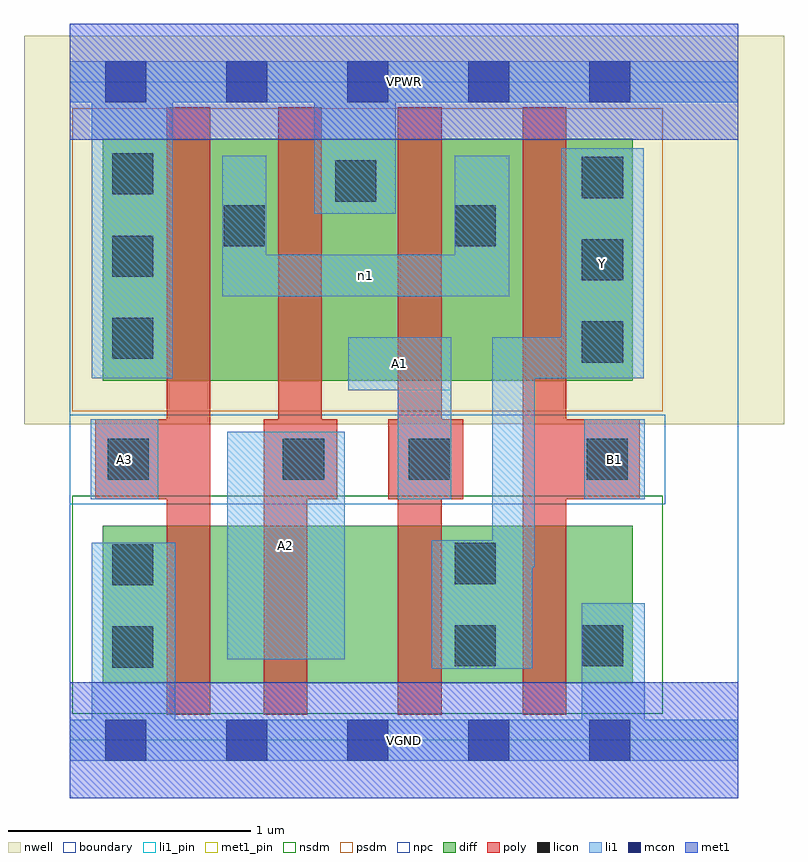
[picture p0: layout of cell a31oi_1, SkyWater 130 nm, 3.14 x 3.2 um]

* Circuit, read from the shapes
.subckt a31oi_1 A1 A2 A3 B1 VGND VPWR Y n1
XM1 n2 A3 VGND VSUBS sky130_fd_pr__nfet_01v8 w=0.65 l=0.18
XM2 n3 A2 n2 VSUBS sky130_fd_pr__nfet_01v8 w=0.65 l=0.18
XM3 Y A1 n3 VSUBS sky130_fd_pr__nfet_01v8 w=0.65 l=0.18
XM4 VGND B1 Y VSUBS sky130_fd_pr__nfet_01v8 w=0.65 l=0.18
XM5 n1 A3 VPWR n4 sky130_fd_pr__pfet_01v8 w=1 l=0.18
XM6 VPWR A2 n1 n4 sky130_fd_pr__pfet_01v8 w=1 l=0.18
XM7 n1 A1 VPWR n4 sky130_fd_pr__pfet_01v8 w=1 l=0.18
XM8 Y B1 n1 n4 sky130_fd_pr__pfet_01v8 w=1 l=0.18
.ends

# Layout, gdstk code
import gdstk
lib = gdstk.Library(unit=1e-6, precision=1e-09)
def R(c, l, rs):  # rectangles x0, y0, x1, y1
    for r in rs: c.add(gdstk.rectangle(r[:2], r[2:], *l))
def A(c, l, x, y, w, h, nx, ny, dx, dy):  # array of equal rectangles
    R(c, l, [(x+i*dx, y+j*dy, x+i*dx+w, y+j*dy+h) for i in range(nx) for j in range(ny)])
nwell = (64, 20)
diff = (65, 20)
poly = (66, 20)
licon = (66, 44)
li1_pin = (67, 16)
li1 = (67, 20)
mcon = (67, 44)
met1_pin = (68, 16)
met1 = (68, 20)
nsdm = (93, 44)
psdm = (94, 20)
npc = (95, 20)
boundary = (235, 4)

a31oi_1 = lib.new_cell('a31oi_1')
R(a31oi_1, nwell, [(-0.19,1.305,2.95,2.91), (0,1.305,2.76,2.91)])
R(a31oi_1, diff, [(0.135,0.235,2.325,0.885), (0.135,1.485,2.325,2.485)])
R(a31oi_1, poly, [(0.4,0.105,0.58,2.615), (0.8,0.105,0.98,1.325), (1.355,0.105,1.535,2.615), (1.87,0.105,2.05,2.615), (0.105,0.995,0.58,1.325), (0.8,0.995,1.105,1.325), (0.86,0.995,1.04,2.615), (1.315,0.995,1.625,1.325), (1.87,0.995,2.355,1.325)])
A(a31oi_1, licon, 2.115, 1.56, 0.17, 0.17, 1, 3, 0, 0.34)
A(a31oi_1, licon, 0.175, 1.575, 0.17, 0.17, 1, 3, 0, 0.34)
R(a31oi_1, licon, [(0.175,0.3,0.345,0.47), (1.59,0.305,1.76,0.475), (2.115,0.305,2.285,0.475), (0.175,0.64,0.345,0.81), (1.59,0.645,1.76,0.815), (0.155,1.075,0.325,1.245), (0.88,1.075,1.05,1.245), (1.4,1.075,1.57,1.245), (2.135,1.075,2.305,1.245), (0.635,2.04,0.805,2.21), (1.59,2.04,1.76,2.21), (1.095,2.225,1.265,2.395)])
R(a31oi_1, li1_pin, [(0.65,0.335,1.135,1.275), (0.085,0.995,0.365,1.325), (2.125,0.995,2.375,1.325), (1.15,1.445,1.575,1.665), (2.03,1.495,2.37,2.445)])
R(a31oi_1, li1, [(0,-0.085,2.76,0.085), (0.09,-0.085,0.435,0.815), (2.115,-0.085,2.375,0.565), (1.495,0.295,1.91,0.825), (0.65,0.335,1.135,1.275), (1.745,0.715,1.92,1.665), (0.085,0.995,0.365,1.325), (1.355,0.995,1.575,1.665), (2.125,0.995,2.375,1.325), (1.15,1.445,1.575,1.665), (0.09,1.495,0.425,2.805), (1.745,1.495,2.37,1.665), (2.03,1.495,2.37,2.445), (0.63,1.835,1.815,2.005), (0.63,1.835,0.81,2.415), (1.59,1.835,1.815,2.415), (1.01,2.175,1.345,2.805), (0,2.635,2.76,2.805)])
A(a31oi_1, mcon, 0.145, -0.085, 0.17, 0.17, 5, 2, 0.5, 2.72)
R(a31oi_1, met1_pin, [(0,-0.24,2.76,0.24), (0,2.48,2.76,2.96)])
R(a31oi_1, met1, [(0,-0.24,2.76,0.24), (0,2.48,2.76,2.96)])
R(a31oi_1, nsdm, [(0.01,0.11,2.45,1.01)])
R(a31oi_1, psdm, [(0.01,1.36,2.45,2.61)])
R(a31oi_1, npc, [(0,0.975,2.46,1.345)])
R(a31oi_1, boundary, [(0,0,2.76,2.72)])
a31oi_1.add(gdstk.Label('A1', (1.362,1.555), layer=67, texttype=5))
a31oi_1.add(gdstk.Label('A2', (0.892,0.805), layer=67, texttype=5))
a31oi_1.add(gdstk.Label('A3', (0.225,1.16), layer=67, texttype=5))
a31oi_1.add(gdstk.Label('B1', (2.25,1.16), layer=67, texttype=5))
a31oi_1.add(gdstk.Label('Y', (2.2,1.97), layer=67, texttype=5))
a31oi_1.add(gdstk.Label('n1', (1.222,1.92), layer=67, texttype=5))
a31oi_1.add(gdstk.Label('VPWR', (1.38,2.72), layer=68, texttype=5))
a31oi_1.add(gdstk.Label('VGND', (1.38,0), layer=68, texttype=5))
a31oi_1.add(gdstk.Label('A1', (1.362,1.555), layer=67, texttype=16))
a31oi_1.add(gdstk.Label('A2', (0.892,0.805), layer=67, texttype=16))
a31oi_1.add(gdstk.Label('A3', (0.225,1.16), layer=67, texttype=16))
a31oi_1.add(gdstk.Label('B1', (2.25,1.16), layer=67, texttype=16))
a31oi_1.add(gdstk.Label('Y', (2.2,1.97), layer=67, texttype=16))
a31oi_1.add(gdstk.Label('VPWR', (1.38,2.72), layer=68, texttype=16))
a31oi_1.add(gdstk.Label('VGND', (1.38,0), layer=68, texttype=16))

lib.write_gds('a31oi_1.gds')
